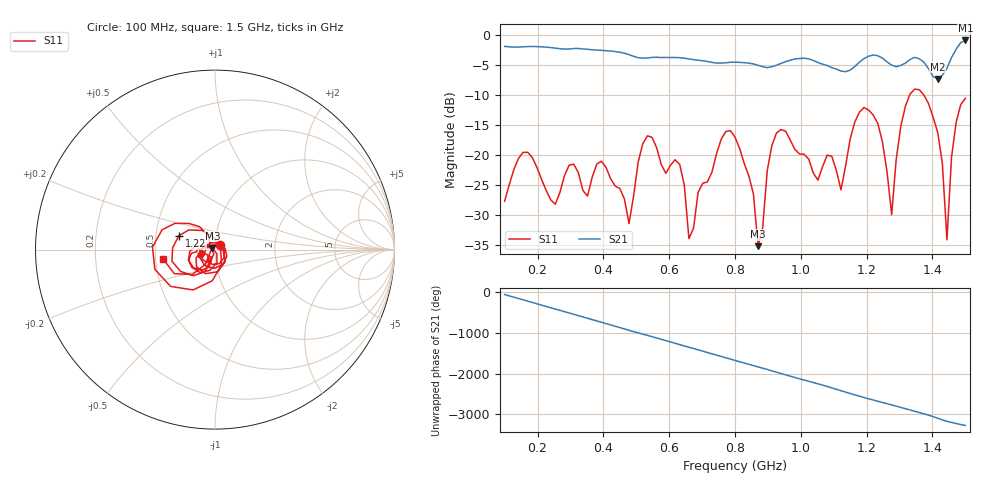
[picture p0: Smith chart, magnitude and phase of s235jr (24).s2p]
! NanoVNA-App
! Date: 2025-09-26 09:44:58
! Start: 100MHz Stop: 1,5GHz Points: 101
! S-Parameter data: F S11 S21 S12 S22
# Hz S RI R 50
!  Frequency  S11_Real  S11_Imag  S21_Real  S21_Imag  S12_Real  S12_Imag  S22_Real  S22_Imag
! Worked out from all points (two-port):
!   101 points, 100 MHz to 1.5 GHz, reference 50 ohm
!   highest |S21| = -0.97 dB at 1.5 GHz (marker M1); lowest = -7.4 dB at 1.416 GHz (marker M2)
!   |S21| within 3 dB of the highest: start of sweep to 652.6 MHz; 1.192 GHz to 1.25 GHz (57.12 MHz wide, 4.68 % of centre)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
!   lowest |S11| = -35.1 dB at 870 MHz (marker M3), VSWR 1.04, Z = 48.5 + j0.901 ohm
!   |S11| at or under -10 dB: start of sweep to 1.331 GHz; 1.373 GHz to end of sweep
!   S12 and S22 are empty: the file has one direction only
!   S11 on the Smith chart (normalised r, x): 100 MHz: 1.06, +0.06; 1.22 GHz: 0.66, +0.11; 1.5 GHz: 0.55, -0.06
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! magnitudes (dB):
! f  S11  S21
! 100 MHz  -27.7  -2.0
! 156 MHz  -19.6  -2.0
! 338 MHz  -25.9  -2.4
! 394 MHz  -21.0  -2.6
! 478 MHz  -31.4  -3.3
! 520 MHz  -18.1  -3.9
! 576 MHz  -21.6  -3.8
! 632 MHz  -21.6  -3.8
! 660 MHz  -33.9  -4.0
! 800 MHz  -17.0  -4.6
! 870 MHz  -35.1  -5.1
! 926 MHz  -16.3  -5.1
! 1.038 GHz  -23.0  -4.3
! 1.122 GHz  -25.8  -6.1
! 1.164 GHz  -14.5  -5.3
! 1.22 GHz  -13.4  -3.4
! 1.276 GHz  -29.9  -5.1
! 1.332 GHz  -9.9  -4.1
! 1.416 GHz  -16.3  -7.4
! 1.444 GHz  -34.1  -5.6
! 1.458 GHz  -20.3  -3.8
! 1.5 GHz  -10.6  -1.0
